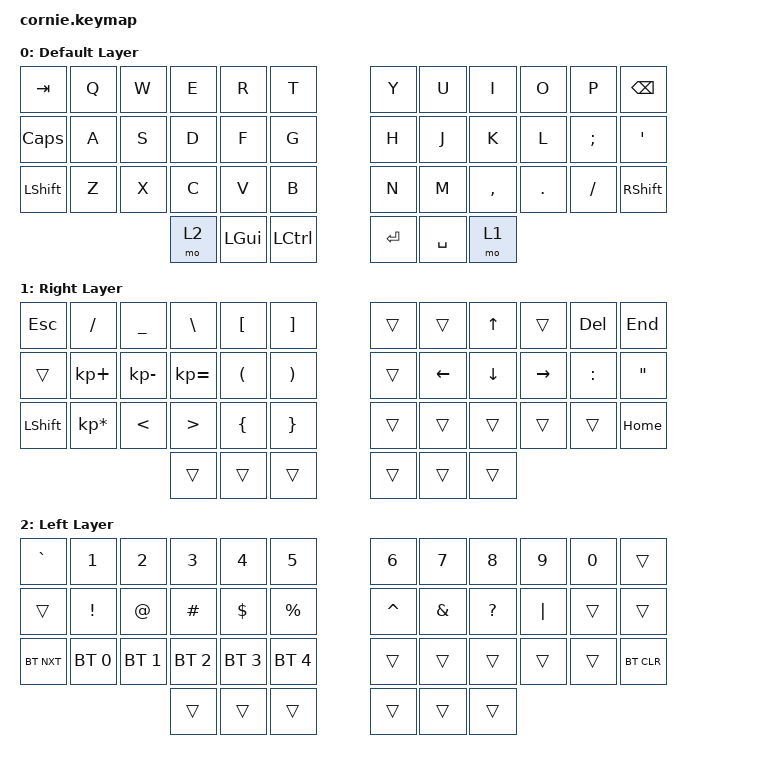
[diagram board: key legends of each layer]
#include <behaviors.dtsi>
#include <dt-bindings/zmk/keys.h>
#include <dt-bindings/zmk/bt.h>

// --------------------------------Copy me to make a layer----------------------------------
// |      |     |     |     |     |     |   |     |      |     |     |     |      |
// |      |     |     |     |     |     |   |     |      |     |     |     |      |
// |      |     |     |     |     |     |   |     |      |     |     |     |      |
//                    |     |     |     |   |     |      |     |



/ {
        keymap {
                compatible = "zmk,keymap";

                default_layer {
                        display-name = "Default Layer";
// -----------------------------------Base layer---------------------------------------------
// |  TAB |  Q  |  W  |  E  |  R  |  T  |   |  Y  |  U   |  I  |  O  |  P  | BSPC |
// | CAPS |  A  |  S  |  D  |  F  |  G  |   |  H  |  J   |  K  |  L  |  ;  |  '   |
// | SHFT |  Z  |  X  |  C  |  V  |  B  |   |  N  |  M   |  ,  |  .  |  /  | SHFT |
//                    |l_lay| CMD |CTRL |   | ENT | SPC  |r_lay|
                        bindings = <
   &kp TAB      &kp Q   &kp W   &kp E   &kp R   &kp T          &kp Y     &kp U      &kp I      &kp O    &kp P     &kp BSPC
   &kp CAPS     &kp A   &kp S   &kp D   &kp F   &kp G          &kp H     &kp J      &kp K      &kp L    &kp SEMI  &kp SQT
   &kp LSHFT    &kp Z   &kp X   &kp C   &kp V   &kp B          &kp N     &kp M      &kp COMMA  &kp DOT  &kp FSLH  &kp RSHFT
                                &mo 2   &kp LGUI &kp LCTRL      &kp RET  &kp SPACE  &mo 1
                        >;
                };

                right_layer {
                        display-name = "Right Layer";
// -------------------------------------Right layer------------------------------------------
// |  ESC |  /  |  _  |  \  |  [  |  ]  |   |     |      | UP  |     | DEL |  END |
// |      |  +  |  -  |  =  |  (  |  )  |   |     | LFT  | DWN | RGT |  :  |   "  |
// | SHFT |  *  |  <  |  >  |  {  |  }  |   |     |      |     |     |     |  HME |
//                    |_____|     |     |   |     |      |_____|
                        bindings = <
   &kp ESC      &kp FSLH         &kp UNDER     &kp BSLH      &kp LBKT     &kp RBKT            &trans   &trans    &kp UP    &trans     &kp DEL     &kp END
   &trans       &kp KP_PLUS      &kp KP_MINUS  &kp KP_EQUAL  &kp LPAR     &kp RPAR            &trans   &kp LEFT  &kp DOWN  &kp RIGHT  &kp COLON   &kp DQT
   &kp LSHFT    &kp KP_ASTERISK  &kp LT        &kp GT        &kp LBRC     &kp RBRC            &trans   &trans    &trans    &trans     &trans      &kp HOME
                                               &trans        &trans       &trans              &trans   &trans    &trans
                        >;
                };

                left_layer {
                        display-name = "Left Layer";
// --------------------------------------Left layer------------------------------------------
// |   `  |  1  |  2  |  3  |  4  |  5  |   |  6  |   7  |  8  |  9  |  0  |      |
// |      |  !  |  @  |  #  |  $  |  %  |   |  ^  |   &  |  ?  |  |  |     |      |
// |BTNXT | BT0 | BT1 | BT2 | BT3 | BT4 |   |     |      |     |     |     |BTCLR |
//                    |_____|     |     |   |     |      |_____|
                        bindings = <
   &kp GRAVE    &kp N1        &kp N2        &kp N3        &kp N4        &kp N5            &kp N6     &kp N7    &kp N8     &kp N9    &kp N0  &trans
   &trans       &kp EXCL      &kp AT        &kp POUND     &kp DLLR      &kp PRCNT         &kp CARET  &kp AMPS  &kp QMARK  &kp PIPE  &trans  &trans
   &bt BT_NXT   &bt BT_SEL 0  &bt BT_SEL 1  &bt BT_SEL 2  &bt BT_SEL 3  &bt BT_SEL 4      &trans     &trans    &trans     &trans    &trans  &bt BT_CLR
                                            &trans        &trans        &trans            &trans     &trans    &trans
                        >;
                };
        };
};
